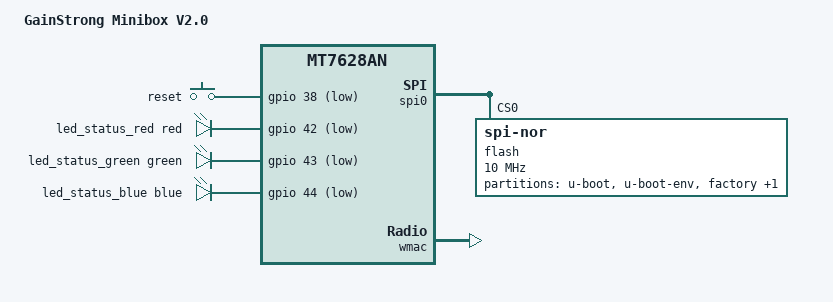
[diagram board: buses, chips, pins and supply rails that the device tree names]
#include "mt7628an.dtsi"

#include <dt-bindings/gpio/gpio.h>
#include <dt-bindings/input/input.h>
#include <dt-bindings/leds/common.h>

/ {
	compatible = "gainstrong,minibox-v2", "mediatek,mt7628an-soc";
	model = "GainStrong Minibox V2.0";

	aliases {
		led-boot = &led_status_blue;
		led-failsafe = &led_status_red;
		led-running = &led_status_blue;
		led-upgrade = &led_status_red;
		label-mac-device = &ethernet;
	};

	keys {
		compatible = "gpio-keys";

		reset {
			label = "reset";
			gpios = <&gpio 38 GPIO_ACTIVE_LOW>;
			linux,code = <KEY_RESTART>;
		};
	};

	leds {
		compatible = "gpio-leds";

		led_status_red: status_red {
			function = LED_FUNCTION_STATUS;
			color = <LED_COLOR_ID_RED>;
			gpios = <&gpio 42 GPIO_ACTIVE_LOW>;
		};

		led_status_green: status_green {
			function = LED_FUNCTION_STATUS;
			color = <LED_COLOR_ID_GREEN>;
			gpios = <&gpio 43 GPIO_ACTIVE_LOW>;
		};

		led_status_blue: status_blue {
			function = LED_FUNCTION_STATUS;
			color = <LED_COLOR_ID_BLUE>;
			gpios = <&gpio 44 GPIO_ACTIVE_LOW>;
			default-state = "on";
		};
	};
};

&state_default {
	gpio {
		groups = "wdt", "p1led_an", "p0led_an", "wled_an";
		function = "gpio";
	};
};

&ethernet {
	nvmem-cells = <&macaddr_factory_4>;
	nvmem-cell-names = "mac-address";
};

&spi0 {
	status = "okay";

	flash@0 {
		compatible = "jedec,spi-nor";
		reg = <0>;
		spi-max-frequency = <10000000>;

		partitions {
			compatible = "fixed-partitions";
			#address-cells = <1>;
			#size-cells = <1>;

			partition@0 {
				label = "u-boot";
				reg = <0x0 0x30000>;
				read-only;
			};

			partition@30000 {
				label = "u-boot-env";
				reg = <0x30000 0x10000>;
			};

			partition@40000 {
				label = "factory";
				reg = <0x40000 0x10000>;
				read-only;

				nvmem-layout {
					compatible = "fixed-layout";
					#address-cells = <1>;
					#size-cells = <1>;

					eeprom_factory_0: eeprom@0 {
						reg = <0x0 0x400>;
					};

					macaddr_factory_4: macaddr@4 {
						reg = <0x4 0x6>;
					};
				};
			};

			partition@50000 {
				compatible = "denx,uimage";
				label = "firmware";
				reg = <0x50000 0x0>;
			};
		};
	};
};

&wmac {
	status = "okay";

	nvmem-cells = <&eeprom_factory_0>;
	nvmem-cell-names = "eeprom";
};
